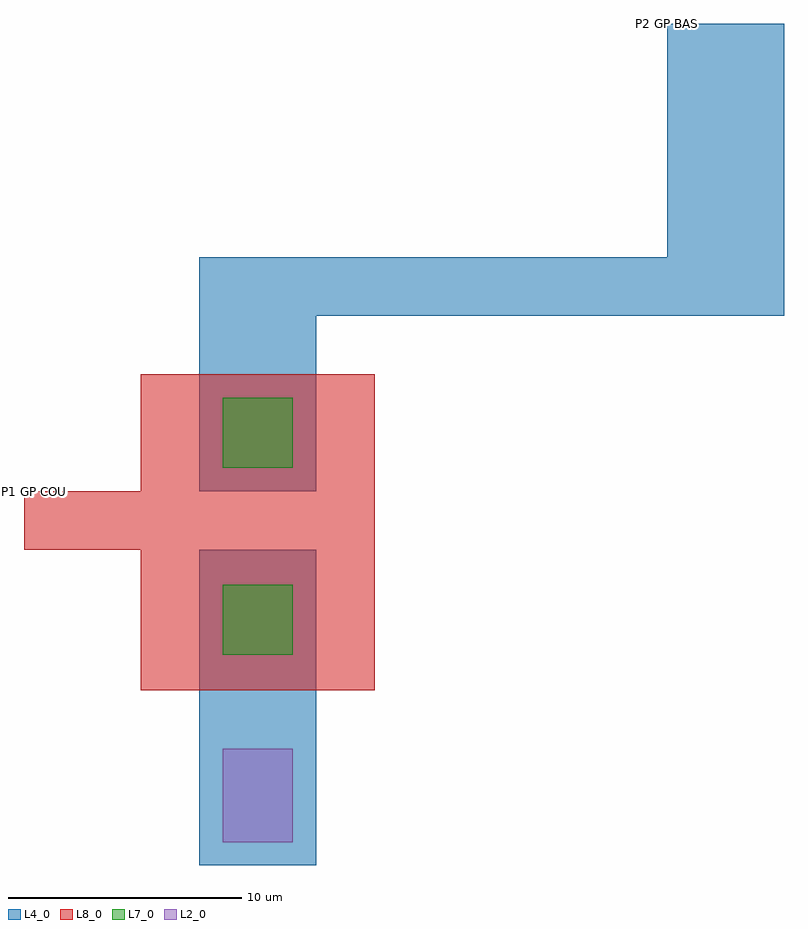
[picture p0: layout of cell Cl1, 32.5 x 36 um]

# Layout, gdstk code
import gdstk
lib = gdstk.Library(unit=1e-6, precision=1e-09)
def R(c, l, rs):  # rectangles x0, y0, x1, y1
    for r in rs: c.add(gdstk.rectangle(r[:2], r[2:], *l))
L2_0 = (2, 0)
L4_0 = (4, 0)
L7_0 = (7, 0)
L8_0 = (8, 0)

cl1 = lib.new_cell('Cl1')
R(cl1, L2_0, [(56,0,59,4)])
R(cl1, L4_0, [(55,-1,60,12.5), (55,15,60,22.5), (55,22.5,80,25), (75,25,80,35)])
R(cl1, L7_0, [(56,8,59,11), (56,16,59,19)])
R(cl1, L8_0, [(52.5,6.5,62.5,20), (47.5,12.5,52.5,15)])
cl1.add(gdstk.Label('P1 GP COU', (47.5,15), layer=18, texttype=0))
cl1.add(gdstk.Label('P2 GP BAS', (75,35), layer=18, texttype=0))

lib.write_gds('Cl1.gds')
